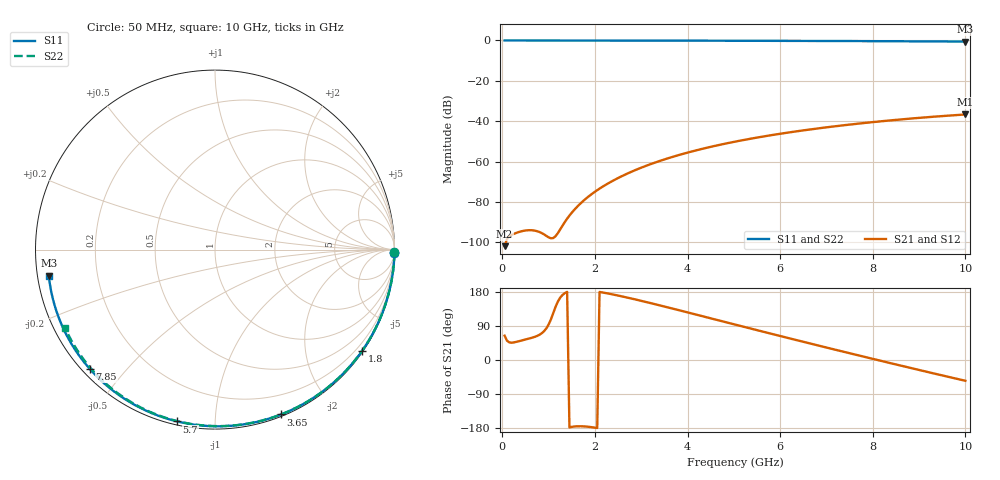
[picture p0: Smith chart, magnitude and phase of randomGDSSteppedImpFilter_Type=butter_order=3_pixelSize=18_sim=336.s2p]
! freq	dB(S11)	phase(S11)	dB(S12)	phase(S12)
!  dB(S21)	phase(S21)	dB(S22)	phase(S22)
!S-par simulation data
#  GHz  S  DB  R 50
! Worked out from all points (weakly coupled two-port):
!   200 points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, 50 MHz to 10 GHz, reference 50 ohm
!   highest |S21| = -36.65 dB at 10 GHz (marker M1); lowest = -101.9 dB at 50 MHz (marker M2)
!   lowest |S11| = -0.6 dB at 10 GHz (marker M3), VSWR 30.95, Z = 1.63 - j3.89 ohm
!   |S11| at or under -10 dB: nowhere
!   |S22| runs from -0.5 to 0.0 dB; largest |S21 - S12| = 0
!   S11 on the Smith chart (normalised r, x): 50 MHz: open; 1.8 GHz: 0.03, -3.21; 3.65 GHz: 0.02, -1.48; 5.7 GHz: 0.02, -0.80; 7.85 GHz: 0.02, -0.40; 10 GHz: 0.03, -0.08
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0.05  -0.00 -1.0  -101.86 64.2  -101.86 64.2  -0.00 -0.9
0.45  -0.01 -8.8  -94.29 52.5  -94.29 52.5  -0.01 -7.9
0.9  -0.02 -17.5  -96.00 75.7  -96.00 75.7  -0.02 -15.8
1.7  -0.04 -32.7  -80.45 -174.8  -80.45 -174.8  -0.04 -29.6
1.75  -0.04 -33.7  -79.42 -175.1  -79.42 -175.1  -0.04 -30.4
1.8  -0.04 -34.6  -78.43 -175.5  -78.43 -175.5  -0.04 -31.3
2.1  -0.05 -40.2  -73.36 179.6  -73.36 179.6  -0.05 -36.3
2.3  -0.06 -43.9  -70.57 175.1  -70.57 175.1  -0.05 -39.7
2.5  -0.06 -47.6  -68.11 170.1  -68.11 170.1  -0.06 -43.0
2.9  -0.07 -54.8  -63.92 159.1  -63.92 159.1  -0.06 -49.6
3.4  -0.08 -63.8  -59.66 144.2  -59.66 144.2  -0.08 -57.7
3.65  -0.09 -68.2  -57.83 136.5  -57.83 136.5  -0.08 -61.7
4.35  -0.11 -80.2  -53.48 114.7  -53.48 114.7  -0.10 -72.6
5.05  -0.14 -91.9  -49.99 92.8  -49.99 92.8  -0.13 -83.2
5.7  -0.17 -102.4  -47.30 72.6  -47.30 72.6  -0.16 -92.8
6.2  -0.20 -110.4  -45.50 57.2  -45.50 57.2  -0.18 -100.0
6.7  -0.23 -118.3  -43.90 41.9  -43.90 41.9  -0.21 -107.0
7.25  -0.27 -126.9  -42.32 25.3  -42.32 25.3  -0.25 -114.7
7.85  -0.32 -136.3  -40.78 7.4  -40.78 7.4  -0.29 -122.9
8.35  -0.37 -144.2  -39.64 -7.4  -39.64 -7.4  -0.33 -129.7
9.2  -0.46 -157.8  -37.96 -32.1  -37.96 -32.1  -0.42 -141.3
10  -0.56 -171.1  -36.65 -54.9  -36.65 -54.9  -0.52 -152.3
